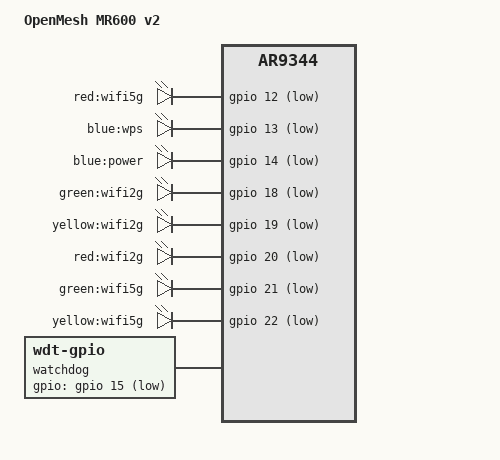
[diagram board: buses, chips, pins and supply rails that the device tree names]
// SPDX-License-Identifier: GPL-2.0-or-later OR MIT

#include "ar9344_openmesh_mr600.dtsi"

/ {
	compatible = "openmesh,mr600-v2", "qca,ar9344";
	model = "OpenMesh MR600 v2";

	aliases {
		led-boot = &led_power_blue;
		led-failsafe = &led_power_blue;
		led-running = &led_power_blue;
		led-upgrade = &led_power_blue;
	};

	leds {
		compatible = "gpio-leds";

		wifi5g_red {
			label = "red:wifi5g";
			gpios = <&gpio 12 GPIO_ACTIVE_LOW>;
		};

		wps_blue {
			label = "blue:wps";
			gpios = <&gpio 13 GPIO_ACTIVE_LOW>;
		};

		led_power_blue: power_blue {
			label = "blue:power";
			gpios = <&gpio 14 GPIO_ACTIVE_LOW>;
			default-state = "on";
		};

		wifi2g_green {
			label = "green:wifi2g";
			gpios = <&gpio 18 GPIO_ACTIVE_LOW>;
			linux,default-trigger = "phy1tpt";
		};

		wifi2g_yellow {
			label = "yellow:wifi2g";
			gpios = <&gpio 19 GPIO_ACTIVE_LOW>;
		};

		wifi2g_red {
			label = "red:wifi2g";
			gpios = <&gpio 20 GPIO_ACTIVE_LOW>;
		};

		wifi5g_green {
			label = "green:wifi5g";
			gpios = <&gpio 21 GPIO_ACTIVE_LOW>;
			linux,default-trigger = "phy0tpt";
		};

		wifi5g_yellow {
			label = "yellow:wifi5g";
			gpios = <&gpio 22 GPIO_ACTIVE_LOW>;
		};
	};

	watchdog {
		compatible = "linux,wdt-gpio";
		gpios = <&gpio 15 GPIO_ACTIVE_LOW>;
		hw_algo = "toggle";
		/* hw_margin_ms is actually 300s but driver limits it to 60s */
		hw_margin_ms = <60000>;
		always-running;
	};
};
